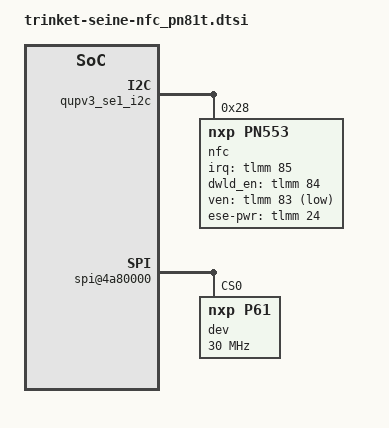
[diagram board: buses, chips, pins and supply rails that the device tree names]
/* arch/arm64/boot/dts/somc/trinket-seine-nfc_pn81t.dtsi
 *
 * This program is free software; you can redistribute it and/or modify
 * it under the terms of the GNU General Public License version 2 and
 * only version 2 as published by the Free Software Foundation.
 *
 * This program is distributed in the hope that it will be useful,
 * but WITHOUT ANY WARRANTY; without even the implied warranty of
 * MERCHANTABILITY or FITNESS FOR A PARTICULAR PURPOSE.  See the
 * GNU General Public License for more details.
 */

&qupv3_se1_i2c {
    /delete-node/ nq@28;
	nfc@28 {
		compatible = "nxp,pn553";
		reg = <0x28>;
		interrupt-parent = <&tlmm>;
		interrupts = <85 0x1>;
		nxp,irq_gpio = <&tlmm 85 0x00>;
		nxp,dwld_en = <&tlmm 84 0x00>;
		nxp,ven = <&tlmm 83 0x01>;
		nxp,ese-pwr = <&tlmm 24 0x00>;
	};
};

&soc {
	nfc,pm-ops {
		compatible = "sony,pn553-pm-ops";
	};

	/* SPI: QUP0 */
	spi@4a80000 {
		compatible = "qcom,spi-geni-cloned";
		pinctrl-0 = <&sm_gpio_0 &sm_gpio_1 &sm_gpio_2>;
		pinctrl-1 = <&sm_gpio_0_sleep &sm_gpio_1 &sm_gpio_2>;
		nxp,ese-pwr = <&tlmm 24 0x00>;
		nxp,ese-cs = <&tlmm 3 0x00>;
		status = "okay";

		dev@0 {
			compatible = "nxp,p61";
			reg = <0>;
			spi-max-frequency = <30000000>;
		};
	};
};

&tlmm {
	sm_gpio_0_sleep: sm_gpio_0_sleep {
		mux {
			pins = "gpio0";
			function = "gpio";
		};

		config {
			pins = "gpio0";
			drive-strength = <2>;
			output-low;
		};
	};
};
